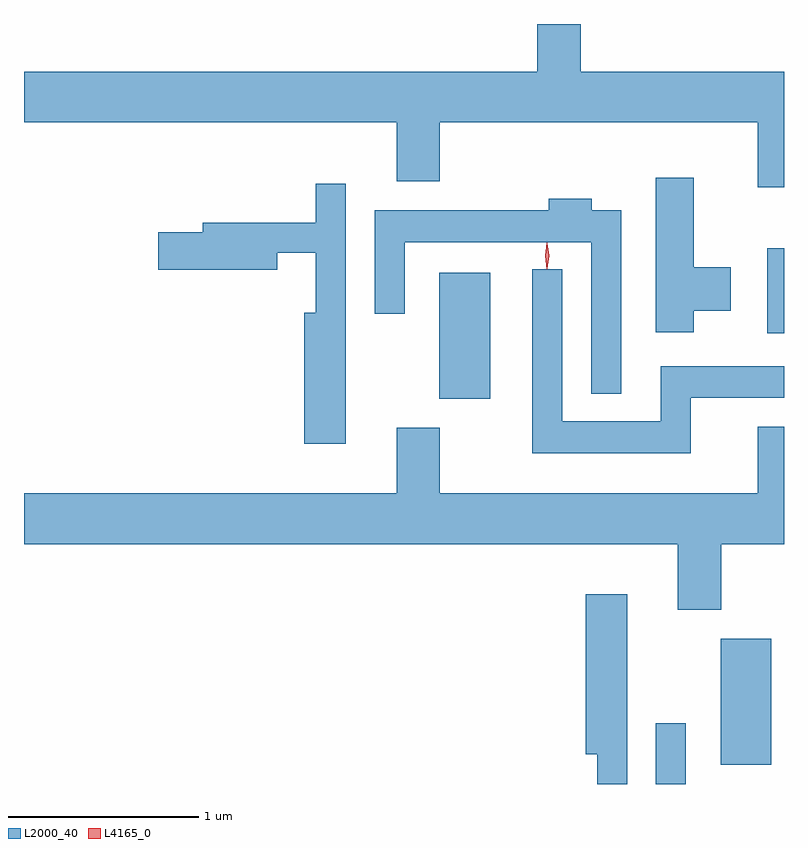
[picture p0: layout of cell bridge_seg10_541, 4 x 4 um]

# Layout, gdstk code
import gdstk
lib = gdstk.Library(unit=1e-6, precision=1e-09)
def R(c, l, rs):  # rectangles x0, y0, x1, y1
    for r in rs: c.add(gdstk.rectangle(r[:2], r[2:], *l))
def P(c, l, *ps):  # polygons
    for p in ps: c.add(gdstk.Polygon(p, *l))
L2000_40 = (2000, 40)
L4165_0 = (4165, 0)

bridge_seg10_541 = lib.new_cell('bridge_seg10_541')
R(bridge_seg10_541, L2000_40, [(770.296,2165.934,770.454,2166.253), (770.636,2166.036,770.904,2166.699), (769.156,2167.961,769.424,2168.624), (770.881,2168.306,770.97,2168.754)])
P(bridge_seg10_541, L2000_40, [(770.97,2169.684),(769.899,2169.684),(769.899,2169.934),(769.671,2169.934),(769.671,2169.684),(766.97,2169.684),(766.97,2169.416),(768.931,2169.416),(768.931,2169.106),(769.159,2169.106),(769.159,2169.416),(770.831,2169.416),(770.831,2169.076),(770.97,2169.076)],
  [(770.494,2168.426),(770.689,2168.426),(770.689,2168.654),(770.494,2168.654),(770.494,2169.124),(770.296,2169.124),(770.296,2168.311),(770.494,2168.311)],
  [(768.664,2169.093),(768.506,2169.093),(768.506,2168.889),(767.911,2168.889),(767.911,2168.839),(767.676,2168.839),(767.676,2168.641),(768.304,2168.641),(768.304,2168.731),(768.506,2168.731),(768.506,2168.414),(768.446,2168.414),(768.446,2167.726),(768.664,2167.726)],
  [(770.114,2168.954),(769.959,2168.954),(769.959,2169.014),(769.731,2169.014),(769.731,2168.954),(768.816,2168.954),(768.816,2168.408),(768.974,2168.408),(768.974,2168.786),(769.956,2168.786),(769.956,2167.988),(770.114,2167.988)],
  [(770.479,2167.966),(770.97,2167.966),(770.97,2168.134),(770.321,2168.134),(770.321,2167.844),(769.804,2167.844),(769.804,2168.643),(769.646,2168.643),(769.646,2167.676),(770.479,2167.676)],
  [(770.639,2167.196),(770.97,2167.196),(770.97,2167.814),(770.831,2167.814),(770.831,2167.464),(769.159,2167.464),(769.159,2167.809),(768.931,2167.809),(768.931,2167.464),(766.97,2167.464),(766.97,2167.196),(770.411,2167.196),(770.411,2166.851),(770.639,2166.851)],
  [(770.144,2166.934),(769.926,2166.934),(769.926,2166.091),(769.986,2166.091),(769.986,2165.934),(770.144,2165.934)])
P(bridge_seg10_541, L4165_0, [(769.722,2168.644),(769.713,2168.713),(769.722,2168.782),(769.723,2168.783),(769.723,2168.782),(769.733,2168.713),(769.723,2168.644),(769.723,2168.644)],
  [(769.724,2168.647),(769.724,2168.648),(769.714,2168.714),(769.724,2168.78),(769.724,2168.781),(769.725,2168.78),(769.734,2168.714),(769.725,2168.648)])

lib.write_gds('bridge_seg10_541.gds')
